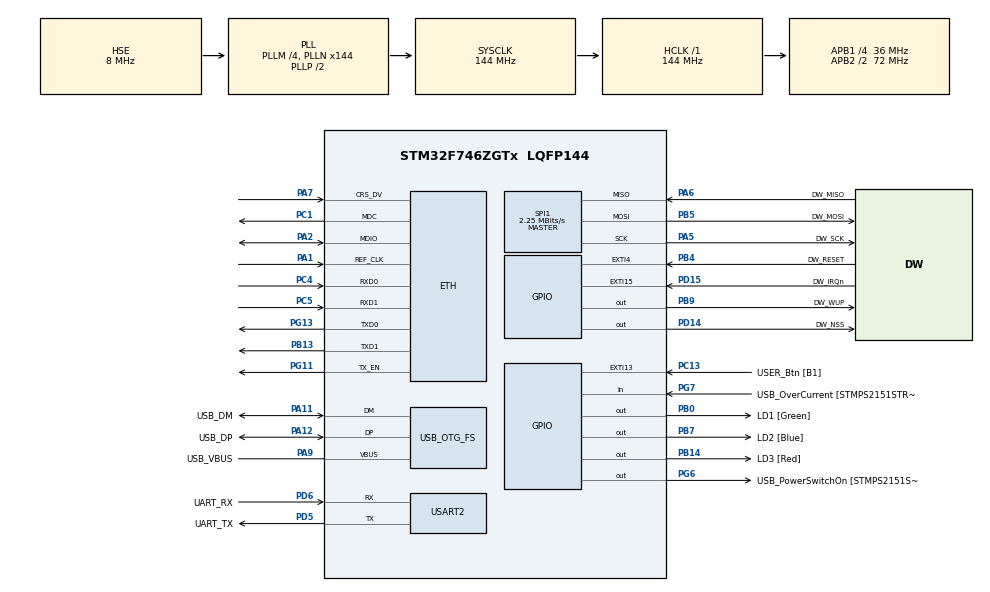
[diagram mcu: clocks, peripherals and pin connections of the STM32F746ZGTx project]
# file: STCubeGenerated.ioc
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ETH.MediaInterface=ETH_MEDIA_INTERFACE_RMII
Mcu.Family=STM32F7
Mcu.Name=STM32F746ZGTx
Mcu.Package=LQFP144
NVIC.EXTI15_10_IRQn=true\:3\:0\:true\:true\:true\:2\:true
NVIC.EXTI4_IRQn=true\:0\:0\:false\:true\:true\:3\:true
NVIC.OTG_FS_IRQn=true\:7\:0\:true\:true\:true\:1\:false
NVIC.PriorityGroup=NVIC_PRIORITYGROUP_4
NVIC.USART2_IRQn=true\:0\:0\:false\:false\:true\:true
PA1.Mode=RMII
PA1.Signal=ETH_REF_CLK
PA10.GPIO_Label=USB_ID
PA10.Signal=USB_OTG_FS_ID
PA11.GPIO_Label=USB_DM
PA11.Mode=Device_Only
PA11.Signal=USB_OTG_FS_DM
PA12.GPIO_Label=USB_DP
PA12.Mode=Device_Only
PA12.Signal=USB_OTG_FS_DP
PA2.Mode=RMII
PA2.Signal=ETH_MDIO
PA5.GPIO_Label=DW_SCK
PA5.GPIO_Speed=GPIO_SPEED_FREQ_HIGH
PA5.Mode=Full_Duplex_Master
PA5.Signal=SPI1_SCK
PA6.GPIO_Label=DW_MISO
PA6.GPIO_PuPd=GPIO_PULLUP
PA6.GPIO_Speed=GPIO_SPEED_FREQ_HIGH
PA6.Mode=Full_Duplex_Master
PA6.Signal=SPI1_MISO
PA7.Mode=RMII
PA7.Signal=ETH_CRS_DV
PA9.GPIO_Label=USB_VBUS
PA9.Mode=Activate_VBUS
PA9.Signal=USB_OTG_FS_VBUS
PB0.GPIO_Label=LD1 [Green]
PB0.Signal=GPIO_Output
PB13.Mode=RMII
PB13.Signal=ETH_TXD1
PB14.GPIO_Label=LD3 [Red]
PB14.Signal=GPIO_Output
PB3.GPIO_Label=SW0
PB3.Signal=SYS_JTDO-SWO
PB4.GPIO_Label=DW_RESET
PB4.Signal=GPXTI4
PB5.GPIO_Label=DW_MOSI
PB5.GPIO_PuPd=GPIO_PULLUP
PB5.GPIO_Speed=GPIO_SPEED_FREQ_HIGH
PB5.Mode=Full_Duplex_Master
PB5.Signal=SPI1_MOSI
PB7.GPIO_Label=LD2 [Blue]
PB7.Signal=GPIO_Output
PB9.GPIO_Label=DW_WUP
PB9.GPIO_ModeDefaultOutputPP=GPIO_MODE_OUTPUT_OD
PB9.GPIO_Speed=GPIO_SPEED_FREQ_HIGH
PB9.PinState=GPIO_PIN_SET
PB9.Signal=GPIO_Output
PC1.Mode=RMII
PC1.Signal=ETH_MDC
PC13.GPIO_Label=USER_Btn [B1]
PC13.Signal=GPXTI13
PC14/OSC32_IN.Mode=LSE-External-Oscillator
PC14/OSC32_IN.Signal=RCC_OSC32_IN
PC15/OSC32_OUT.Mode=LSE-External-Oscillator
PC15/OSC32_OUT.Signal=RCC_OSC32_OUT
PC4.Mode=RMII
PC4.Signal=ETH_RXD0
PC5.Mode=RMII
PC5.Signal=ETH_RXD1
PD14.GPIO_Label=DW_NSS
PD14.GPIO_Speed=GPIO_SPEED_FREQ_HIGH
PD14.PinState=GPIO_PIN_SET
PD14.Signal=GPIO_Output
PD15.GPIO_Label=DW_IRQn
PD15.GPIO_PuPd=GPIO_PULLDOWN
PD15.Signal=GPXTI15
PD5.GPIO_Label=UART_TX
PD5.GPIO_PuPd=GPIO_PULLUP
PD5.Mode=Asynchronous
PD5.Signal=USART2_TX
PD6.GPIO_Label=UART_RX
PD6.GPIO_PuPd=GPIO_PULLUP
PD6.Mode=Asynchronous
PD6.Signal=USART2_RX
PD8.Signal=USART3_TX
PG11.Mode=RMII
PG11.Signal=ETH_TX_EN
PG13.Mode=RMII
PG13.Signal=ETH_TXD0
PG6.GPIO_Label=USB_PowerSwitchOn [STMPS2151STR_EN]
PG6.Signal=GPIO_Output
PG7.GPIO_Label=USB_OverCurrent [STMPS2151STR_FAULT]
PG7.Signal=GPIO_Input
PH0/OSC_IN.Mode=HSE-External-Clock-Source
PH0/OSC_IN.Signal=RCC_OSC_IN
PH1/OSC_OUT.Mode=HSE-External-Clock-Source
PH1/OSC_OUT.Signal=RCC_OSC_OUT
ProjectManager.HeapSize=0x200
ProjectManager.StackSize=0x400
ProjectManager.TargetToolchain=MDK-ARM V5
RCC.AHBFreq_Value=144000000
RCC.APB1CLKDivider=RCC_HCLK_DIV4
RCC.APB1Freq_Value=36000000
RCC.APB1TimFreq_Value=72000000
RCC.APB2CLKDivider=RCC_HCLK_DIV2
RCC.APB2Freq_Value=72000000
RCC.APB2TimFreq_Value=144000000
RCC.CortexFreq_Value=144000000
RCC.HCLKFreq_Value=144000000
RCC.HSE_VALUE=8000000
RCC.HSI_VALUE=16000000
RCC.PLLM=4
RCC.PLLN=144
RCC.PLLQ=6
RCC.SYSCLKFreq_VALUE=144000000
RCC.SYSCLKSource=RCC_SYSCLKSOURCE_PLLCLK
RCC.USBFreq_Value=48000000
RCC.VCOOutputFreq_Value=288000000
SPI1.BaudRatePrescaler=SPI_BAUDRATEPRESCALER_32
SPI1.CalculateBaudRate=2.25 MBits/s
SPI1.DataSize=SPI_DATASIZE_8BIT
SPI1.Direction=SPI_DIRECTION_2LINES
SPI1.Mode=SPI_MODE_MASTER
SPI1.NSSPMode=SPI_NSS_PULSE_DISABLE
SPI1.VirtualType=VM_MASTER
USART2.VirtualMode-Asynchronous=VM_ASYNC
USART2.WordLength=WORDLENGTH_8B
USB_DEVICE.CLASS_NAME_FS=CDC
USB_DEVICE.VirtualMode-CDC_FS=Cdc
USB_DEVICE.VirtualModeFS=Cdc_FS
USB_OTG_FS.VirtualMode=Device_Only
VP_USB_DEVICE_VS_USB_DEVICE_CDC_FS.Mode=CDC_FS
board=STCubeGenerated

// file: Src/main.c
/**
  ******************************************************************************
  * @file           : main.c
  * @brief          : Main program body
  ******************************************************************************
  * This notice applies to any and all portions of this file
  * that are not between comment pairs USER CODE BEGIN and
  * USER CODE END. Other portions of this file, whether
  * inserted by the user or by software development tools
  * are owned by their respective copyright owners.
  *
  * Copyright (c) 2018 STMicroelectronics International N.V.
  * All rights reserved.
  *
  * Redistribution and use in source and binary forms, with or without
  * modification, are permitted, provided that the following conditions are met:
  *
  * 1. Redistribution of source code must retain the above copyright notice,
  *    this list of conditions and the following disclaimer.
  * 2. Redistributions in binary form must reproduce the above copyright notice,
  *    this list of conditions and the following disclaimer in the documentation
  *    and/or other materials provided with the distribution.
  * 3. Neither the name of STMicroelectronics nor the names of other
  *    contributors to this software may be used to endorse or promote products
  *    derived from this software without specific written permission.
  * 4. This software, including modifications and/or derivative works of this
  *    software, must execute solely and exclusively on microcontroller or
  *    microprocessor devices manufactured by or for STMicroelectronics.
  * 5. Redistribution and use of this software other than as permitted under
  *    this license is void and will automatically terminate your rights under
  *    this license.
  *
  * THIS SOFTWARE IS PROVIDED BY STMICROELECTRONICS AND CONTRIBUTORS "AS IS"
  * AND ANY EXPRESS, IMPLIED OR STATUTORY WARRANTIES, INCLUDING, BUT NOT
  * LIMITED TO, THE IMPLIED WARRANTIES OF MERCHANTABILITY, FITNESS FOR A
  * PARTICULAR PURPOSE AND NON-INFRINGEMENT OF THIRD PARTY INTELLECTUAL PROPERTY
  * RIGHTS ARE DISCLAIMED TO THE FULLEST EXTENT PERMITTED BY LAW. IN NO EVENT
  * SHALL STMICROELECTRONICS OR CONTRIBUTORS BE LIABLE FOR ANY DIRECT, INDIRECT,
  * INCIDENTAL, SPECIAL, EXEMPLARY, OR CONSEQUENTIAL DAMAGES (INCLUDING, BUT NOT
  * LIMITED TO, PROCUREMENT OF SUBSTITUTE GOODS OR SERVICES; LOSS OF USE, DATA,
  * OR PROFITS; OR BUSINESS INTERRUPTION) HOWEVER CAUSED AND ON ANY THEORY OF
  * LIABILITY, WHETHER IN CONTRACT, STRICT LIABILITY, OR TORT (INCLUDING
  * NEGLIGENCE OR OTHERWISE) ARISING IN ANY WAY OUT OF THE USE OF THIS SOFTWARE,
  * EVEN IF ADVISED OF THE POSSIBILITY OF SUCH DAMAGE.
  *
  ******************************************************************************
  */
#include "main.h"
#include "stm32f7xx_hal.h"
#include "usb_device.h"

/* USER CODE BEGIN Includes */
#include "stm32f7xx_nucleo_144.h"
#include <stdio.h>
#include <stdlib.h>
#include "port.h"
#include "deca_device_api.h"
#include "deca_regs.h"
#include "sleep.h"
#include "cmsis_os.h"                   // ARM::CMSIS:RTOS:Keil RTX

/* USER CODE END Includes */

ETH_HandleTypeDef heth;

SPI_HandleTypeDef hspi1;

UART_HandleTypeDef huart2;

/* USER CODE BEGIN PV */
/* Private variables ---------------------------------------------------------*/
app_t 	app;												// For USB

extern USBD_HandleTypeDef hUsbDeviceFS;

/* USER CODE END PV */

void SystemClock_Config(void);
static void MX_GPIO_Init(void);
static void MX_ETH_Init(void);
static void MX_SPI1_Init(void);
static void MX_USART2_UART_Init(void);
static void MX_NVIC_Init(void);

/* USER CODE BEGIN PFP */
/* Private function prototypes -----------------------------------------------*/
static void LED2_Blink(void);

/*-----------MULTITHREADING--------------*/
extern int Init_JMThread (void);
extern int Init_uartThread (void);

/*-----------UART--------------*/
uint8_t u5_TxStartMessage[] = "\n\r ****WELCOME TO UWB Jamming Testing****\n\r *****APP V0.1*****\n\r";			/* Buffer used for transmission */

/* USER CODE END PFP */

/* USER CODE BEGIN 0 */
extern uint32_t os_time;
uint32_t HAL_GetTick(void) {           // Add HAL_GetTick function for STM32Cube HAL
  return os_time;
}
/* USER CODE END 0 */

int main(void)
{

  /* MCU Configuration----------------------------------------------------------*/

  /* Reset of all peripherals, Initializes the Flash interface and the Systick. */
  HAL_Init();

  /* USER CODE BEGIN Init */
	osKernelInitialize (); // Initialize RTOS Kernel for setup
  /* USER CODE END Init */

  /* Configure the system clock */
  SystemClock_Config();

  /* Initialize all configured peripherals */
  MX_GPIO_Init();
  MX_ETH_Init();
  MX_SPI1_Init();
  MX_USB_DEVICE_Init();
  MX_USART2_UART_Init();

  /* Initialize interrupts */
  MX_NVIC_Init();
  /* USER CODE BEGIN 2 */

		Init_JMThread();

		Init_uartThread();

		osKernelStart (); // Begin thread switching

		if(HAL_UART_Transmit_IT(&huart2, (uint8_t*)u5_TxStartMessage, sizeof(u5_TxStartMessage))!= HAL_OK)
		{
			/* Transfer error in transmission process */
			Error_Handler();
		}

//	LED2_Blink();
  /* USER CODE END 2 */

  /* Infinite loop */
  /* USER CODE BEGIN WHILE */
//  while (1)
//  {

  /* USER CODE END WHILE */

  /* USER CODE BEGIN 3 */
//
//

//  }
  /* USER CODE END 3 */

}

void SystemClock_Config(void)
{

  RCC_OscInitTypeDef RCC_OscInitStruct;
  RCC_ClkInitTypeDef RCC_ClkInitStruct;
  RCC_PeriphCLKInitTypeDef PeriphClkInitStruct;

    /**Configure the main internal regulator output voltage
    */
  __HAL_RCC_PWR_CLK_ENABLE();

  __HAL_PWR_VOLTAGESCALING_CONFIG(PWR_REGULATOR_VOLTAGE_SCALE3);

    /**Initializes the CPU, AHB and APB busses clocks
    */
  RCC_OscInitStruct.OscillatorType = RCC_OSCILLATORTYPE_HSE;
  RCC_OscInitStruct.HSEState = RCC_HSE_BYPASS;
  RCC_OscInitStruct.PLL.PLLState = RCC_PLL_ON;
  RCC_OscInitStruct.PLL.PLLSource = RCC_PLLSOURCE_HSE;
  RCC_OscInitStruct.PLL.PLLM = 4;
  RCC_OscInitStruct.PLL.PLLN = 144;
  RCC_OscInitStruct.PLL.PLLP = RCC_PLLP_DIV2;
  RCC_OscInitStruct.PLL.PLLQ = 6;
  if (HAL_RCC_OscConfig(&RCC_OscInitStruct) != HAL_OK)
  {
    _Error_Handler(__FILE__, __LINE__);
  }

    /**Initializes the CPU, AHB and APB busses clocks
    */
  RCC_ClkInitStruct.ClockType = RCC_CLOCKTYPE_HCLK|RCC_CLOCKTYPE_SYSCLK
                              |RCC_CLOCKTYPE_PCLK1|RCC_CLOCKTYPE_PCLK2;
  RCC_ClkInitStruct.SYSCLKSource = RCC_SYSCLKSOURCE_PLLCLK;
  RCC_ClkInitStruct.AHBCLKDivider = RCC_SYSCLK_DIV1;
  RCC_ClkInitStruct.APB1CLKDivider = RCC_HCLK_DIV4;
  RCC_ClkInitStruct.APB2CLKDivider = RCC_HCLK_DIV2;

  if (HAL_RCC_ClockConfig(&RCC_ClkInitStruct, FLASH_LATENCY_4) != HAL_OK)
  {
    _Error_Handler(__FILE__, __LINE__);
  }

  PeriphClkInitStruct.PeriphClockSelection = RCC_PERIPHCLK_USART2|RCC_PERIPHCLK_CLK48;
  PeriphClkInitStruct.Usart2ClockSelection = RCC_USART2CLKSOURCE_PCLK1;
  PeriphClkInitStruct.Clk48ClockSelection = RCC_CLK48SOURCE_PLL;
  if (HAL_RCCEx_PeriphCLKConfig(&PeriphClkInitStruct) != HAL_OK)
  {
    _Error_Handler(__FILE__, __LINE__);
  }

    /**Configure the Systick interrupt time
    */
  HAL_SYSTICK_Config(HAL_RCC_GetHCLKFreq()/1000);

    /**Configure the Systick
    */
  HAL_SYSTICK_CLKSourceConfig(SYSTICK_CLKSOURCE_HCLK);

  /* SysTick_IRQn interrupt configuration */
  HAL_NVIC_SetPriority(SysTick_IRQn, 0, 0);
}

/**
  * @brief NVIC Configuration.
  * @retval None
  */
static void MX_NVIC_Init(void)
{
  /* OTG_FS_IRQn interrupt configuration */
  HAL_NVIC_SetPriority(OTG_FS_IRQn, 7, 0);
  HAL_NVIC_EnableIRQ(OTG_FS_IRQn);
  /* EXTI15_10_IRQn interrupt configuration */
  HAL_NVIC_SetPriority(EXTI15_10_IRQn, 3, 0);
  HAL_NVIC_EnableIRQ(EXTI15_10_IRQn);
  /* EXTI4_IRQn interrupt configuration */
  HAL_NVIC_SetPriority(EXTI4_IRQn, 0, 0);
  HAL_NVIC_EnableIRQ(EXTI4_IRQn);
}

/* ETH init function */
static void MX_ETH_Init(void)
{

   uint8_t MACAddr[6] ;

  heth.Instance = ETH;
  heth.Init.AutoNegotiation = ETH_AUTONEGOTIATION_ENABLE;
  heth.Init.PhyAddress = LAN8742A_PHY_ADDRESS;
  MACAddr[0] = 0x00;
  MACAddr[1] = 0x80;
  MACAddr[2] = 0xE1;
  MACAddr[3] = 0x00;
  MACAddr[4] = 0x00;
  MACAddr[5] = 0x00;
  heth.Init.MACAddr = &MACAddr[0];
  heth.Init.RxMode = ETH_RXPOLLING_MODE;
  heth.Init.ChecksumMode = ETH_CHECKSUM_BY_HARDWARE;
  heth.Init.MediaInterface = ETH_MEDIA_INTERFACE_RMII;

  if (HAL_ETH_Init(&heth) != HAL_OK)
  {
    _Error_Handler(__FILE__, __LINE__);
  }

}

/* SPI1 init function */
static void MX_SPI1_Init(void)
{

  /* SPI1 parameter configuration*/
  hspi1.Instance = SPI1;
  hspi1.Init.Mode = SPI_MODE_MASTER;
  hspi1.Init.Direction = SPI_DIRECTION_2LINES;
  hspi1.Init.DataSize = SPI_DATASIZE_8BIT;
  hspi1.Init.CLKPolarity = SPI_POLARITY_LOW;
  hspi1.Init.CLKPhase = SPI_PHASE_1EDGE;
  hspi1.Init.NSS = SPI_NSS_SOFT;
  hspi1.Init.BaudRatePrescaler = SPI_BAUDRATEPRESCALER_32;
  hspi1.Init.FirstBit = SPI_FIRSTBIT_MSB;
  hspi1.Init.TIMode = SPI_TIMODE_DISABLE;
  hspi1.Init.CRCCalculation = SPI_CRCCALCULATION_DISABLE;
  hspi1.Init.CRCPolynomial = 7;
  hspi1.Init.CRCLength = SPI_CRC_LENGTH_DATASIZE;
  hspi1.Init.NSSPMode = SPI_NSS_PULSE_DISABLE;
  if (HAL_SPI_Init(&hspi1) != HAL_OK)
  {
    _Error_Handler(__FILE__, __LINE__);
  }

}

/* USART2 init function */
static void MX_USART2_UART_Init(void)
{

  huart2.Instance = USART2;
  huart2.Init.BaudRate = 115200;
  huart2.Init.WordLength = UART_WORDLENGTH_8B;
  huart2.Init.StopBits = UART_STOPBITS_1;
  huart2.Init.Parity = UART_PARITY_NONE;
  huart2.Init.Mode = UART_MODE_TX_RX;
  huart2.Init.HwFlowCtl = UART_HWCONTROL_NONE;
  huart2.Init.OverSampling = UART_OVERSAMPLING_16;
  huart2.Init.OneBitSampling = UART_ONE_BIT_SAMPLE_DISABLE;
  huart2.AdvancedInit.AdvFeatureInit = UART_ADVFEATURE_NO_INIT;
  if (HAL_UART_Init(&huart2) != HAL_OK)
  {
    _Error_Handler(__FILE__, __LINE__);
  }

}

/** Configure pins as
        * Analog
        * Input
        * Output
        * EVENT_OUT
        * EXTI
     PD8   ------> USART3_TX
*/
static void MX_GPIO_Init(void)
{

  GPIO_InitTypeDef GPIO_InitStruct;

  /* GPIO Ports Clock Enable */
  __HAL_RCC_GPIOC_CLK_ENABLE();
  __HAL_RCC_GPIOH_CLK_ENABLE();
  __HAL_RCC_GPIOA_CLK_ENABLE();
  __HAL_RCC_GPIOB_CLK_ENABLE();
  __HAL_RCC_GPIOD_CLK_ENABLE();
  __HAL_RCC_GPIOG_CLK_ENABLE();

  /*Configure GPIO pin Output Level */
  HAL_GPIO_WritePin(GPIOB, LD1_Pin|LD3_Pin|LD2_Pin, GPIO_PIN_RESET);

  /*Configure GPIO pin Output Level */
  HAL_GPIO_WritePin(DW_NSS_GPIO_Port, DW_NSS_Pin, GPIO_PIN_SET);

  /*Configure GPIO pin Output Level */
  HAL_GPIO_WritePin(USB_PowerSwitchOn_GPIO_Port, USB_PowerSwitchOn_Pin, GPIO_PIN_RESET);

  /*Configure GPIO pin Output Level */
  HAL_GPIO_WritePin(DW_WUP_GPIO_Port, DW_WUP_Pin, GPIO_PIN_SET);

  /*Configure GPIO pin : USER_Btn_Pin */
  GPIO_InitStruct.Pin = USER_Btn_Pin;
  GPIO_InitStruct.Mode = GPIO_MODE_IT_RISING;
  GPIO_InitStruct.Pull = GPIO_NOPULL;
  HAL_GPIO_Init(USER_Btn_GPIO_Port, &GPIO_InitStruct);

  /*Configure GPIO pins : LD1_Pin LD3_Pin LD2_Pin */
  GPIO_InitStruct.Pin = LD1_Pin|LD3_Pin|LD2_Pin;
  GPIO_InitStruct.Mode = GPIO_MODE_OUTPUT_PP;
  GPIO_InitStruct.Pull = GPIO_NOPULL;
  GPIO_InitStruct.Speed = GPIO_SPEED_FREQ_LOW;
  HAL_GPIO_Init(GPIOB, &GPIO_InitStruct);

  /*Configure GPIO pin : PD8 */
  GPIO_InitStruct.Pin = GPIO_PIN_8;
  GPIO_InitStruct.Mode = GPIO_MODE_AF_PP;
  GPIO_InitStruct.Pull = GPIO_NOPULL;
  GPIO_InitStruct.Speed = GPIO_SPEED_FREQ_VERY_HIGH;
  GPIO_InitStruct.Alternate = GPIO_AF7_USART3;
  HAL_GPIO_Init(GPIOD, &GPIO_InitStruct);

  /*Configure GPIO pin : DW_NSS_Pin */
  GPIO_InitStruct.Pin = DW_NSS_Pin;
  GPIO_InitStruct.Mode = GPIO_MODE_OUTPUT_PP;
  GPIO_InitStruct.Pull = GPIO_NOPULL;
  GPIO_InitStruct.Speed = GPIO_SPEED_FREQ_HIGH;
  HAL_GPIO_Init(DW_NSS_GPIO_Port, &GPIO_InitStruct);

  /*Configure GPIO pin : DW_IRQn_Pin */
  GPIO_InitStruct.Pin = DW_IRQn_Pin;
  GPIO_InitStruct.Mode = GPIO_MODE_IT_RISING;
  GPIO_InitStruct.Pull = GPIO_PULLDOWN;
  HAL_GPIO_Init(DW_IRQn_GPIO_Port, &GPIO_InitStruct);

  /*Configure GPIO pin : USB_PowerSwitchOn_Pin */
  GPIO_InitStruct.Pin = USB_PowerSwitchOn_Pin;
  GPIO_InitStruct.Mode = GPIO_MODE_OUTPUT_PP;
  GPIO_InitStruct.Pull = GPIO_NOPULL;
  GPIO_InitStruct.Speed = GPIO_SPEED_FREQ_LOW;
  HAL_GPIO_Init(USB_PowerSwitchOn_GPIO_Port, &GPIO_InitStruct);

  /*Configure GPIO pin : USB_OverCurrent_Pin */
  GPIO_InitStruct.Pin = USB_OverCurrent_Pin;
  GPIO_InitStruct.Mode = GPIO_MODE_INPUT;
  GPIO_InitStruct.Pull = GPIO_NOPULL;
  HAL_GPIO_Init(USB_OverCurrent_GPIO_Port, &GPIO_InitStruct);

  /*Configure GPIO pin : DW_RESET_Pin */
  GPIO_InitStruct.Pin = DW_RESET_Pin;
  GPIO_InitStruct.Mode = GPIO_MODE_IT_RISING;
  GPIO_InitStruct.Pull = GPIO_NOPULL;
  HAL_GPIO_Init(DW_RESET_GPIO_Port, &GPIO_InitStruct);

  /*Configure GPIO pin : DW_WUP_Pin */
  GPIO_InitStruct.Pin = DW_WUP_Pin;
  GPIO_InitStruct.Mode = GPIO_MODE_OUTPUT_OD;
  GPIO_InitStruct.Pull = GPIO_NOPULL;
  GPIO_InitStruct.Speed = GPIO_SPEED_FREQ_HIGH;
  HAL_GPIO_Init(DW_WUP_GPIO_Port, &GPIO_InitStruct);

}

/* USER CODE BEGIN 4 */

/**
  * @brief  EXTI line detection callbacks.
  * @param  GPIO_Pin: Specifies the pins connected EXTI line
  * @retval None
  */
//void HAL_GPIO_EXTI_Callback(uint16_t GPIO_Pin)
//{
//  if(BlinkSpeed == 2)
//  {
//    BlinkSpeed = 0;
//  }
//  else
//  {
//    BlinkSpeed ++;
//  }
//}

/* USER CODE END 4 */

void _Error_Handler(char *file, int line)
{
  while(1)
  {
  }
}

/************************ (C) COPYRIGHT STMicroelectronics *****END OF FILE****/
